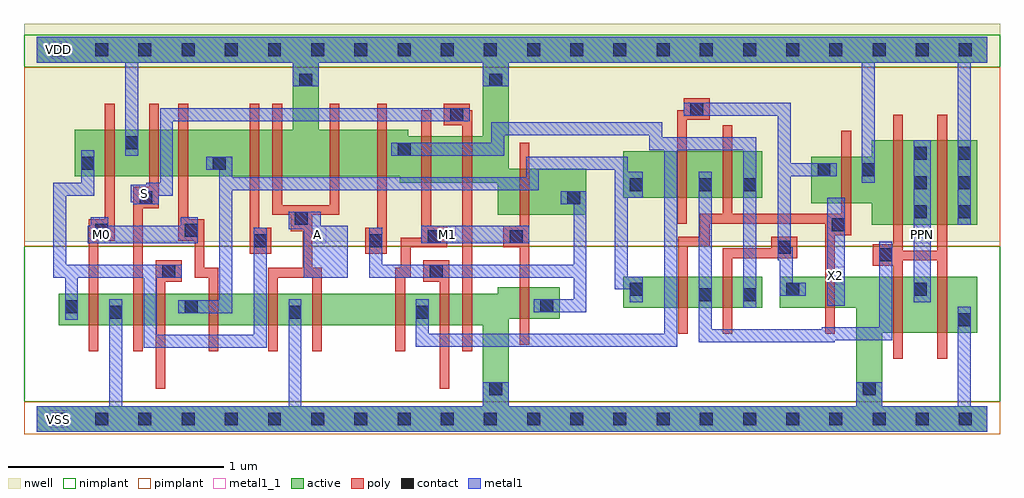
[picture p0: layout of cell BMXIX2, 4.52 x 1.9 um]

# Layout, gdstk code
import gdstk
lib = gdstk.Library(unit=1e-6, precision=5e-10)
def R(c, l, rs):  # rectangles x0, y0, x1, y1
    for r in rs: c.add(gdstk.rectangle(r[:2], r[2:], *l))
def A(c, l, x, y, w, h, nx, ny, dx, dy):  # array of equal rectangles
    R(c, l, [(x+i*dx, y+j*dy, x+i*dx+w, y+j*dy+h) for i in range(nx) for j in range(ny)])
def P(c, l, *ps):  # polygons
    for p in ps: c.add(gdstk.Polygon(p, *l))
active = (1, 0)
nwell = (2, 0)
poly = (3, 0)
nimplant = (4, 0)
pimplant = (5, 0)
contact = (6, 0)
metal1 = (7, 0)
metal1_1 = (7, 1)

bmxix2 = lib.new_cell('BMXIX2')
R(bmxix2, active, [(2.715,0.515,3.36,0.66), (2.715,1.025,3.36,1.24)])
P(bmxix2, active, [(0,1.77),(4.4,1.77),(4.4,1.65),(2.185,1.65),(2.185,1.16),(2.545,1.16),(2.545,0.945),(2.135,0.945),(2.135,1.095),(1.68,1.095),(1.68,1.125),(0.175,1.125),(0.175,1.34),(1.185,1.34),(1.185,1.65),(1.305,1.65),(1.305,1.34),(1.72,1.34),(1.72,1.31),(2.065,1.31),(2.065,1.65),(0,1.65)],
  [(3.865,1.29),(4.355,1.29),(4.355,0.9),(3.865,0.9),(3.865,1),(3.585,1),(3.585,1.215),(3.865,1.215)],
  [(2.135,0.61),(2.42,0.61),(2.42,0.465),(2.185,0.465),(2.185,0.06),(3.795,0.06),(3.795,0.515),(3.44,0.515),(3.44,0.66),(4.355,0.66),(4.355,0.4),(3.915,0.4),(3.915,0.06),(4.4,0.06),(4.4,-0.06),(0,-0.06),(0,0.06),(2.065,0.06),(2.065,0.435),(0.1,0.435),(0.1,0.58),(2.135,0.58)])
R(bmxix2, nwell, [(-0.06,0.82,4.46,1.83)])
P(bmxix2, poly, [(0.315,1.46),(0.36,1.46),(0.36,0.825),(0.285,0.825),(0.285,0.315),(0.24,0.315),(0.24,0.925),(0.315,0.925)],
  [(0.52,1.46),(0.565,1.46),(0.565,0.975),(0.49,0.975),(0.49,0.315),(0.445,0.315),(0.445,1.075),(0.52,1.075)],
  [(0.655,1.46),(0.7,1.46),(0.7,0.925),(0.775,0.925),(0.775,0.7),(0.84,0.7),(0.84,0.315),(0.795,0.315),(0.795,0.655),(0.73,0.655),(0.73,0.825),(0.655,0.825)],
  [(0.985,1.46),(1.03,1.46),(1.03,0.885),(1.085,0.885),(1.085,0.765),(0.985,0.765)],
  [(1.09,1.46),(1.135,1.46),(1.135,0.99),(1.355,0.99),(1.355,1.46),(1.4,1.46),(1.4,0.945),(1.275,0.945),(1.275,0.7),(1.32,0.7),(1.32,0.315),(1.275,0.315),(1.275,0.655),(1.115,0.655),(1.115,0.315),(1.07,0.315),(1.07,0.7),(1.23,0.7),(1.23,0.87),(1.175,0.87),(1.175,0.945),(1.09,0.945)],
  [(1.575,1.46),(1.62,1.46),(1.62,0.765),(1.52,0.765),(1.52,0.885),(1.575,0.885)],
  [(1.885,1.46),(2.005,1.46),(2.005,1.43),(2.015,1.43),(2.015,0.315),(1.97,0.315),(1.97,1.36),(1.885,1.36)],
  [(1.78,1.43),(1.825,1.43),(1.825,0.895),(1.9,0.895),(1.9,0.795),(1.73,0.795),(1.73,0.655),(1.705,0.655),(1.705,0.315),(1.66,0.315),(1.66,0.7),(1.685,0.7),(1.685,0.84),(1.78,0.84)],
  [(2.995,1.485),(3.115,1.485),(3.115,1.385),(3.01,1.385),(3.01,0.905),(2.965,0.905),(2.965,1.43),(2.995,1.43)],
  [(2.235,1.28),(2.28,1.28),(2.28,0.345),(2.235,0.345),(2.235,0.795),(2.16,0.795),(2.16,0.895),(2.235,0.895)],
  [(3.175,1.36),(3.22,1.36),(3.22,0.95),(3.725,0.95),(3.725,1.335),(3.77,1.335),(3.77,0.85),(3.695,0.85),(3.695,0.395),(3.65,0.395),(3.65,0.905),(3.115,0.905),(3.115,0.8),(3.015,0.8),(3.015,0.395),(2.97,0.395),(2.97,0.845),(3.07,0.845),(3.07,0.95),(3.175,0.95)],
  [(3.965,1.41),(4.01,1.41),(4.01,0.78),(4.17,0.78),(4.17,1.41),(4.215,1.41),(4.215,0.28),(4.17,0.28),(4.17,0.735),(4.01,0.735),(4.01,0.28),(3.965,0.28),(3.965,0.71),(3.87,0.71),(3.87,0.81),(3.965,0.81)],
  [(3.4,0.845),(3.52,0.845),(3.52,0.745),(3.22,0.745),(3.22,0.395),(3.175,0.395),(3.175,0.79),(3.4,0.79)],
  [(0.55,0.735),(0.67,0.735),(0.67,0.635),(0.595,0.635),(0.595,0.14),(0.55,0.14)],
  [(1.79,0.735),(1.91,0.735),(1.91,0.14),(1.865,0.14),(1.865,0.635),(1.79,0.635)])
R(bmxix2, nimplant, [(-0.06,0.08,4.46,0.8), (-0.06,1.63,4.46,1.78)])
R(bmxix2, pimplant, [(-0.06,-0.07,4.46,0.08), (-0.06,0.8,4.46,1.63)])
A(bmxix2, contact, 0.07, -0.03, 0.06, 0.06, 22, 2, 0.2, 1.71)
A(bmxix2, contact, 4.06, 0.93, 0.06, 0.06, 1, 3, 0, 0.135)
A(bmxix2, contact, 4.265, 0.93, 0.06, 0.06, 1, 3, 0, 0.135)
R(bmxix2, contact, [(2.095,0.11,2.155,0.17), (3.825,0.11,3.885,0.17), (4.265,0.43,4.325,0.49), (0.335,0.465,0.395,0.525), (1.165,0.465,1.225,0.525), (1.755,0.465,1.815,0.525), (0.13,0.49,0.19,0.55), (0.685,0.49,0.745,0.55), (2.33,0.495,2.39,0.555), (3.065,0.545,3.125,0.605), (3.27,0.545,3.33,0.605), (2.745,0.57,2.805,0.63), (3.47,0.57,3.53,0.63), (4.06,0.57,4.12,0.63), (0.58,0.655,0.64,0.715), (1.82,0.655,1.88,0.715), (3.9,0.73,3.96,0.79), (3.43,0.765,3.49,0.825), (1.005,0.795,1.065,0.855), (1.54,0.795,1.6,0.855), (1.81,0.815,1.87,0.875), (2.19,0.815,2.25,0.875), (0.27,0.845,0.33,0.905), (0.685,0.845,0.745,0.905), (3.68,0.87,3.74,0.93), (1.195,0.9,1.255,0.96), (0.475,0.995,0.535,1.055), (2.455,0.995,2.515,1.055), (2.745,1.055,2.805,1.115), (3.065,1.055,3.125,1.115), (3.27,1.055,3.33,1.115), (3.615,1.125,3.675,1.185), (3.82,1.125,3.88,1.185), (0.205,1.155,0.265,1.215), (0.815,1.155,0.875,1.215), (1.67,1.22,1.73,1.28), (0.41,1.25,0.47,1.31), (1.915,1.38,1.975,1.44), (3.025,1.405,3.085,1.465), (1.215,1.54,1.275,1.6), (2.095,1.54,2.155,1.6)])
R(bmxix2, metal1, [(3.66,0.525,3.74,1.025), (4.06,0.54,4.14,1.29), (1.78,0.815,2.28,0.895)])
P(bmxix2, metal1, [(0,1.77),(4.4,1.77),(4.4,1.65),(4.325,1.65),(4.325,0.9),(4.265,0.9),(4.265,1.65),(3.88,1.65),(3.88,1.095),(3.82,1.095),(3.82,1.65),(2.185,1.65),(2.185,1.54),(2.065,1.54),(2.065,1.65),(1.305,1.65),(1.305,1.54),(1.185,1.54),(1.185,1.65),(0.47,1.65),(0.47,1.22),(0.41,1.22),(0.41,1.65),(0,1.65)],
  [(0.57,1.44),(2.005,1.44),(2.005,1.38),(0.63,1.38),(0.63,1.035),(0.565,1.035),(0.565,0.995),(0.445,0.995),(0.445,1.005),(0.435,1.005),(0.435,1.085),(0.505,1.085),(0.505,1.095),(0.57,1.095)],
  [(0.205,1.245),(0.265,1.245),(0.265,1.035),(0.135,1.035),(0.135,0.715),(0.67,0.715),(0.67,0.655),(0.555,0.655),(0.555,0.39),(1.005,0.39),(1.005,0.885),(1.065,0.885),(1.065,0.33),(0.495,0.33),(0.495,0.655),(0.19,0.655),(0.19,0.46),(0.13,0.46),(0.13,0.655),(0.075,0.655),(0.075,1.095),(0.205,1.095)],
  [(2.105,1.375),(2.895,1.375),(2.895,1.305),(3.33,1.305),(3.33,0.515),(3.27,0.515),(3.27,1.245),(2.965,1.245),(2.965,0.335),(1.755,0.335),(1.755,0.555),(1.815,0.555),(1.815,0.395),(2.905,0.395),(2.905,1.245),(2.835,1.245),(2.835,1.315),(2.165,1.315),(2.165,1.22),(1.64,1.22),(1.64,1.28),(2.105,1.28)],
  [(2.995,1.465),(3.49,1.465),(3.49,1.185),(3.705,1.185),(3.705,1.125),(3.49,1.125),(3.49,0.795),(3.5,0.795),(3.5,0.63),(3.56,0.63),(3.56,0.57),(3.44,0.57),(3.44,0.735),(3.43,0.735),(3.43,1.405),(2.995,1.405)],
  [(0.785,1.215),(0.905,1.215),(0.905,1.12),(2.265,1.12),(2.265,1.215),(2.735,1.215),(2.735,1.145),(2.805,1.145),(2.805,1.025),(2.735,1.025),(2.735,0.66),(2.805,0.66),(2.805,0.54),(2.745,0.54),(2.745,0.6),(2.675,0.6),(2.675,1.155),(2.325,1.155),(2.325,1.06),(0.905,1.06),(0.905,0.49),(0.655,0.49),(0.655,0.55),(0.845,0.55),(0.845,1.155),(0.785,1.155)],
  [(2.425,1.055),(2.545,1.055),(2.545,0.495),(2.3,0.495),(2.3,0.555),(2.485,0.555),(2.485,0.655),(1.54,0.655),(1.54,0.885),(1.6,0.885),(1.6,0.715),(2.485,0.715),(2.485,0.995),(2.425,0.995)],
  [(0.25,0.935),(0.33,0.935),(0.33,0.895),(0.665,0.895),(0.665,0.935),(0.745,0.935),(0.745,0.815),(0.235,0.815),(0.235,0.895),(0.25,0.895)],
  [(0.335,0.555),(0.395,0.555),(0.395,0.06),(1.165,0.06),(1.165,0.555),(1.225,0.555),(1.225,0.06),(2.065,0.06),(2.065,0.17),(2.185,0.17),(2.185,0.06),(3.795,0.06),(3.795,0.17),(3.915,0.17),(3.915,0.06),(4.265,0.06),(4.265,0.52),(4.325,0.52),(4.325,0.06),(4.4,0.06),(4.4,-0.06),(0,-0.06),(0,0.06),(0.335,0.06)],
  [(1.165,0.96),(1.315,0.96),(1.315,0.895),(1.44,0.895),(1.44,0.655),(1.235,0.655),(1.235,0.88),(1.165,0.88)],
  [(3.065,1.145),(3.125,1.145),(3.125,0.415),(3.635,0.415),(3.635,0.425),(3.9,0.425),(3.9,0.82),(3.96,0.82),(3.96,0.365),(3.695,0.365),(3.695,0.355),(3.065,0.355)])
R(bmxix2, metal1_1, [(0.06,-0.04,0.14,0.04), (3.66,0.625,3.74,0.705), (0.26,0.815,0.34,0.895), (1.26,0.815,1.34,0.895), (1.86,0.815,1.94,0.895), (4.06,0.815,4.14,0.895), (0.46,1.005,0.54,1.085), (0.06,1.67,0.14,1.75)])
bmxix2.add(gdstk.Label('PPN', (4.1,0.855), layer=7, texttype=1))
bmxix2.add(gdstk.Label('X2', (3.7,0.665), layer=7, texttype=1))
bmxix2.add(gdstk.Label('M1', (1.9,0.855), layer=7, texttype=1))
bmxix2.add(gdstk.Label('A', (1.3,0.855), layer=7, texttype=1))
bmxix2.add(gdstk.Label('S', (0.5,1.045), layer=7, texttype=1))
bmxix2.add(gdstk.Label('M0', (0.3,0.855), layer=7, texttype=1))
bmxix2.add(gdstk.Label('VDD', (0.1,1.71), layer=7, texttype=1))
bmxix2.add(gdstk.Label('VSS', (0.1,0), layer=7, texttype=1))
bmxix2.add(gdstk.Label('BMXIX2', (0,0), layer=63, texttype=0))

lib.write_gds('BMXIX2.gds')
